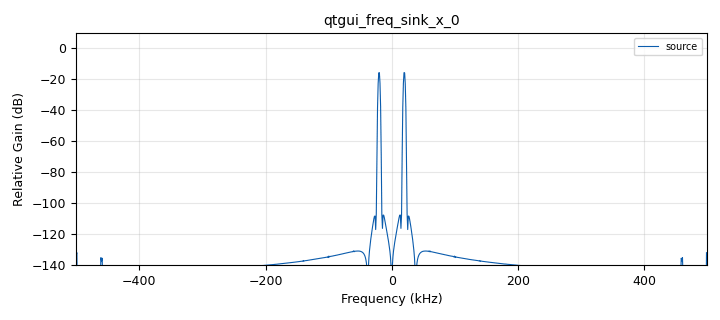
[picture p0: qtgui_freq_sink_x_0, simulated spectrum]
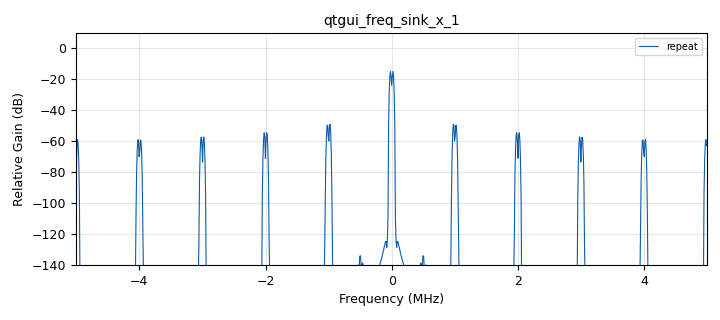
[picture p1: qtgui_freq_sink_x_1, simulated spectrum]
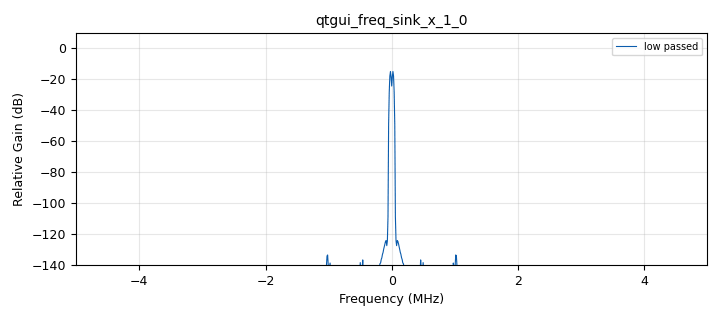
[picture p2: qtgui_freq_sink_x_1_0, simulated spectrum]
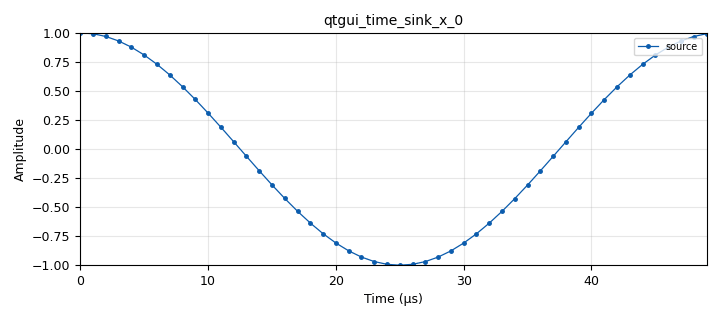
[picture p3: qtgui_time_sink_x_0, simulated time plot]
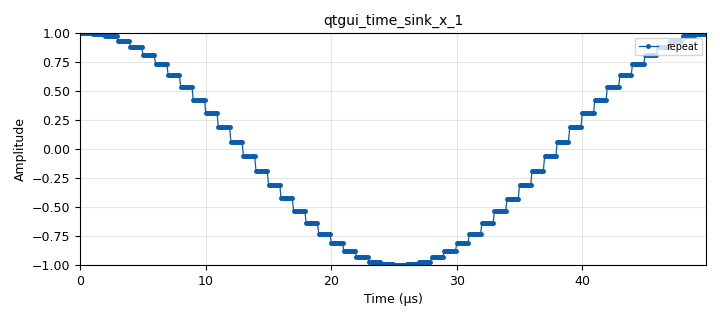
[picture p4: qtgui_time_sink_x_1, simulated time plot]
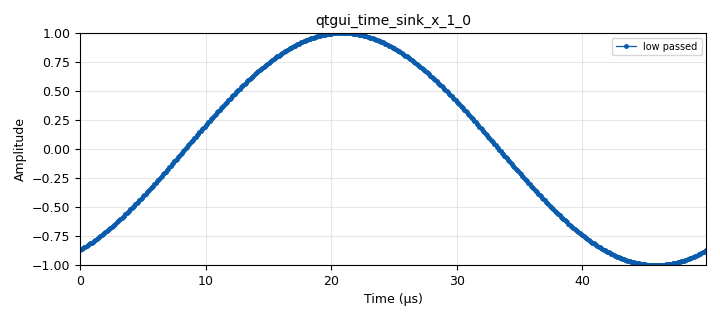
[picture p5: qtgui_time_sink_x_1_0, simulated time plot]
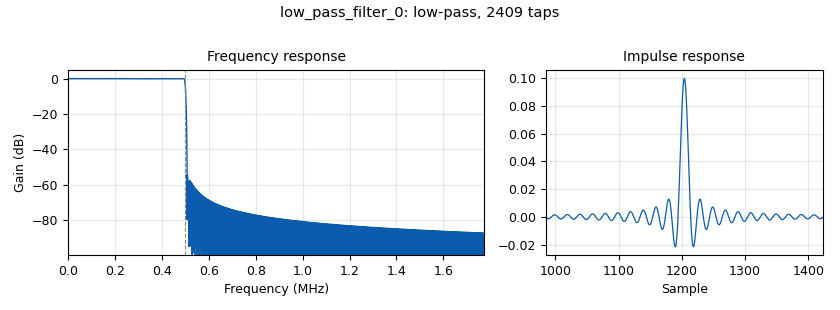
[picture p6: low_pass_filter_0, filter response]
options:
  parameters:
    generate_options: qt_gui
    id: sampling
    output_language: python
    title: sampling
  states: {}

blocks:
- name: freq_kHz
  id: variable_qtgui_range
  parameters:
    comment: |-
      Using the GUI Hint:
      <row location>,<column location>,<row size>,<column size>

      Use this to possition elements within the GUI
    gui_hint: 0,0,1,2
    start: '1'
    step: '1'
    stop: 1.5e3
    value: '20'
  states: {}
- name: samp_rate
  id: variable
  parameters:
    value: 1e6
  states: {}
- name: analog_sig_source_x_0
  id: analog_sig_source_x
  parameters:
    amp: '1'
    freq: freq_kHz*1000
    offset: '0'
    phase: '0'
    samp_rate: samp_rate
    type: float
    waveform: analog.GR_COS_WAVE
  states: {}
- name: blocks_repeat_0
  id: blocks_repeat
  parameters:
    interp: '10'
    type: float
  states: {}
- name: blocks_throttle2_0
  id: blocks_throttle2
  parameters:
    samples_per_second: samp_rate
    type: float
  states: {}
- name: low_pass_filter_0
  id: low_pass_filter
  parameters:
    cutoff_freq: 500e3
    decim: '1'
    gain: '1'
    samp_rate: samp_rate*10
    type: fir_filter_fff
    width: 10e3
    win: window.WIN_HAMMING
  states: {}
- name: qtgui_freq_sink_x_0
  id: qtgui_freq_sink_x
  parameters:
    bw: samp_rate
    fc: '0'
    fftsize: '1024'
    gui_hint: 1,1,3,1
    label1: source
    type: float
  states: {}
- name: qtgui_freq_sink_x_1
  id: qtgui_freq_sink_x
  parameters:
    bw: samp_rate*10
    fc: '0'
    fftsize: '1024'
    gui_hint: 4,1,3,1
    label1: repeat
    type: float
  states: {}
- name: qtgui_freq_sink_x_1_0
  id: qtgui_freq_sink_x
  parameters:
    bw: samp_rate*10
    fc: '0'
    fftsize: '1024'
    gui_hint: 7,1,3,1
    label1: low passed
    type: float
  states: {}
- name: qtgui_time_sink_x_0
  id: qtgui_time_sink_x
  parameters:
    gui_hint: 1,0,3,1
    label1: source
    marker1: '0'
    size: '50'
    srate: samp_rate
    type: float
  states: {}
- name: qtgui_time_sink_x_1
  id: qtgui_time_sink_x
  parameters:
    comment: |-
      Need to multiply the sample rate
      and num points by 10 because of
      the repeat block.
    gui_hint: 4,0,3,1
    label1: repeat
    marker1: '0'
    size: '500'
    srate: samp_rate*10
    type: float
  states: {}
- name: qtgui_time_sink_x_1_0
  id: qtgui_time_sink_x
  parameters:
    gui_hint: 7,0,3,1
    label1: low passed
    marker1: '0'
    size: '500'
    srate: samp_rate*10
    type: float
  states: {}

connections:
- [analog_sig_source_x_0, '0', blocks_throttle2_0, '0']
- [blocks_repeat_0, '0', low_pass_filter_0, '0']
- [blocks_repeat_0, '0', qtgui_freq_sink_x_1, '0']
- [blocks_repeat_0, '0', qtgui_time_sink_x_1, '0']
- [blocks_throttle2_0, '0', blocks_repeat_0, '0']
- [blocks_throttle2_0, '0', qtgui_freq_sink_x_0, '0']
- [blocks_throttle2_0, '0', qtgui_time_sink_x_0, '0']
- [low_pass_filter_0, '0', qtgui_freq_sink_x_1_0, '0']
- [low_pass_filter_0, '0', qtgui_time_sink_x_1_0, '0']

metadata:
  file_format: 1
  grc_version: 3.10.6.0
